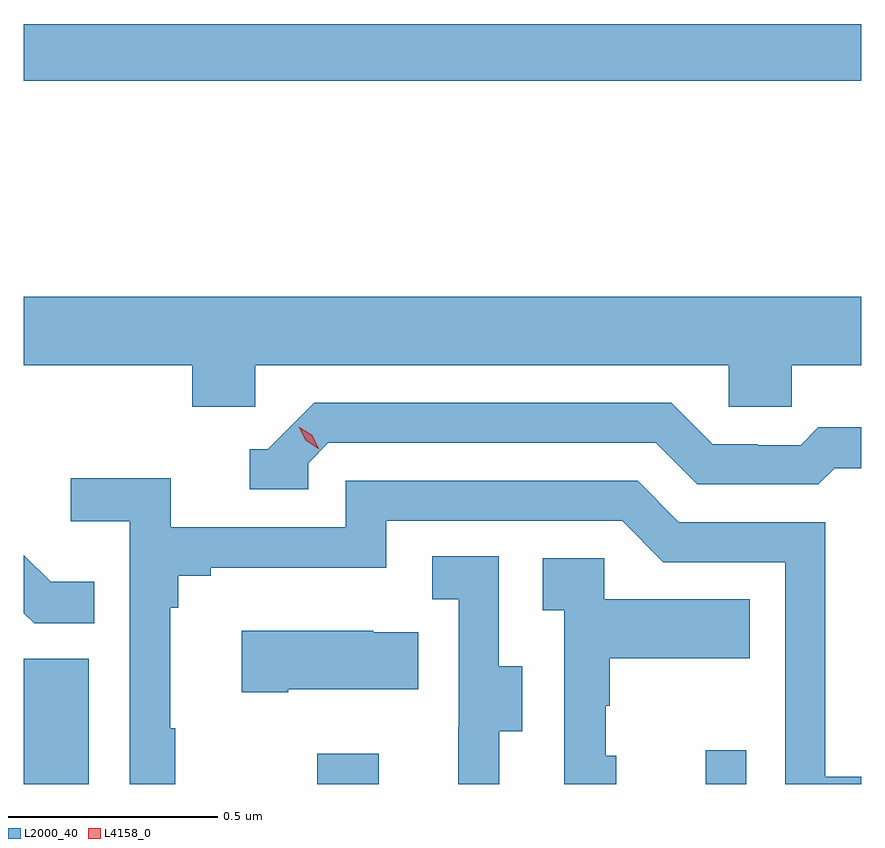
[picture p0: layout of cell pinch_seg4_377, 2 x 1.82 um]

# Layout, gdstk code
import gdstk
lib = gdstk.Library(unit=1e-6, precision=1e-09)
def R(c, l, rs):  # rectangles x0, y0, x1, y1
    for r in rs: c.add(gdstk.rectangle(r[:2], r[2:], *l))
def P(c, l, *ps):  # polygons
    for p in ps: c.add(gdstk.Polygon(p, *l))
L2000_40 = (2000, 40)
L4158_0 = (4158, 0)

pinch_seg4_377 = lib.new_cell('pinch_seg4_377')
R(pinch_seg4_377, L2000_40, [(912.377,769.18,912.532,769.479), (913.078,769.18,913.225,769.252), (914.006,769.18,914.103,769.261), (912.377,770.86,914.377,770.996)])
P(pinch_seg4_377, L2000_40, [(912.93,770.18),(914.061,770.18),(914.061,770.082),(914.211,770.082),(914.211,770.18),(914.377,770.18),(914.377,770.344),(912.377,770.344),(912.377,770.18),(912.779,770.18),(912.779,770.082),(912.93,770.082)],
  [(913.056,769.947),(913.104,769.995),(913.887,769.995),(913.986,769.896),(914.275,769.896),(914.314,769.935),(914.377,769.935),(914.377,770.032),(914.275,770.032),(914.233,769.989),(914.13,769.989),(914.13,769.992),(914.023,769.992),(913.924,770.091),(913.071,770.091),(912.96,769.98),(912.917,769.98),(912.917,769.884),(913.056,769.884)],
  [(912.739,769.313),(912.727,769.313),(912.727,769.601),(912.746,769.601),(912.746,769.678),(912.823,769.678),(912.823,769.697),(913.242,769.697),(913.242,769.809),(913.806,769.809),(913.905,769.71),(914.196,769.71),(914.196,769.18),(914.377,769.18),(914.377,769.197),(914.292,769.197),(914.292,769.806),(913.942,769.806),(913.843,769.905),(913.146,769.905),(913.146,769.794),(912.728,769.794),(912.728,769.91),(912.489,769.91),(912.489,769.808),(912.63,769.808),(912.63,769.18),(912.739,769.18)],
  [(912.545,769.663),(912.441,769.663),(912.377,769.727),(912.377,769.588),(912.401,769.564),(912.545,769.564)],
  [(913.513,769.306),(913.567,769.306),(913.567,769.461),(913.512,769.461),(913.512,769.724),(913.353,769.724),(913.353,769.621),(913.416,769.621),(913.416,769.317),(913.415,769.317),(913.415,769.18),(913.513,769.18)],
  [(913.792,769.248),(913.767,769.248),(913.767,769.367),(913.777,769.367),(913.777,769.481),(914.111,769.481),(914.111,769.621),(913.764,769.621),(913.764,769.719),(913.617,769.719),(913.617,769.595),(913.668,769.595),(913.668,769.18),(913.792,769.18)],
  [(913.009,769.406),(913.319,769.406),(913.319,769.543),(913.211,769.543),(913.211,769.546),(912.897,769.546),(912.897,769.399),(913.009,769.399)])
P(pinch_seg4_377, L4158_0, [(913.08,769.981),(913.05,770.001),(913.034,770.034),(913.034,770.034),(913.034,770.034),(913.065,770.015),(913.081,769.982),(913.081,769.981)])

lib.write_gds('pinch_seg4_377.gds')
